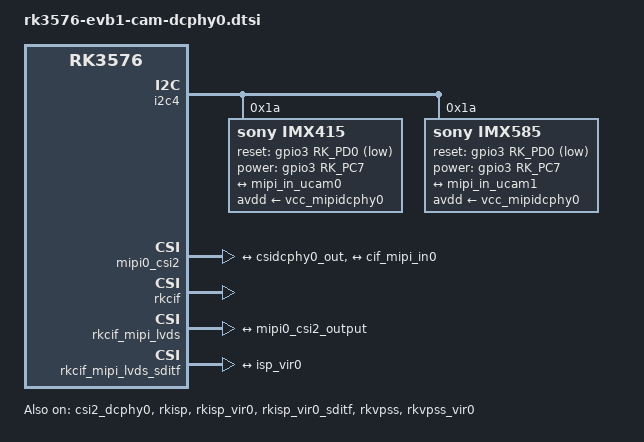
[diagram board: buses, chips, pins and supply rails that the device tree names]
// SPDX-License-Identifier: (GPL-2.0+ OR MIT)
/*
 * Copyright (c) 2024 Rockchip Electronics Co., Ltd.
 *
 */

&csi2_dcphy0 {
	status = "okay";

	ports {
		#address-cells = <1>;
		#size-cells = <0>;
		port@0 {
			reg = <0>;
			#address-cells = <1>;
			#size-cells = <0>;

			mipi_in_ucam0: endpoint@1 {
				reg = <1>;
				remote-endpoint = <&imx415_out0>;
				data-lanes = <1 2 3 4>;
			};

			mipi_in_ucam1: endpoint@2 {
				reg = <2>;
				remote-endpoint = <&imx585_out0>;
				data-lanes = <1 2 3 4>;
			};

		};
		port@1 {
			reg = <1>;
			#address-cells = <1>;
			#size-cells = <0>;

			csidcphy0_out: endpoint@0 {
				reg = <0>;
				remote-endpoint = <&mipi0_csi2_input>;
			};
		};
	};
};

&i2c4 {
	status = "okay";
	pinctrl-0 = <&i2c4m3_xfer>;

	imx415: imx415@1a {
		compatible = "sony,imx415";
		status = "okay";
		reg = <0x1a>;
		clocks = <&cru CLK_MIPI_CAMERAOUT_M0>;
		clock-names = "xvclk";
		pinctrl-names = "default";
		pinctrl-0 = <&cam_clk0m0_clk0>;
		power-domains = <&power RK3576_PD_VI>;
		avdd-supply = <&vcc_mipidcphy0>;
		reset-gpios = <&gpio3 RK_PD0 GPIO_ACTIVE_LOW>;
		power-gpios = <&gpio3 RK_PC7 GPIO_ACTIVE_HIGH>;
		rockchip,camera-module-index = <0>;
		rockchip,camera-module-facing = "back";
		rockchip,camera-module-name = "CMK-OT2022-PX1";
		rockchip,camera-module-lens-name = "IR0147-50IRC-8M-F20";
		port {
			imx415_out0: endpoint {
				remote-endpoint = <&mipi_in_ucam0>;
				data-lanes = <1 2 3 4>;
			};
		};
	};

	imx585: imx585@1a {
		compatible = "sony,imx585";
		status = "okay";
		reg = <0x1a>;
		clocks = <&cru CLK_MIPI_CAMERAOUT_M0>;
		clock-names = "xvclk";
		pinctrl-names = "default";
		pinctrl-0 = <&cam_clk0m0_clk0>;
		power-domains = <&power RK3576_PD_VI>;
		avdd-supply = <&vcc_mipidcphy0>;
		reset-gpios = <&gpio3 RK_PD0 GPIO_ACTIVE_LOW>;
		power-gpios = <&gpio3 RK_PC7 GPIO_ACTIVE_HIGH>;
		rockchip,camera-module-index = <0>;
		rockchip,camera-module-facing = "back";
		rockchip,camera-module-name = "CMK-IMX585-PX1";
		rockchip,camera-module-lens-name = "FH34SRJ-30SCK0";
		port {
			imx585_out0: endpoint {
				remote-endpoint = <&mipi_in_ucam1>;
				data-lanes = <1 2 3 4>;
			};
		};
	};

};

&mipi0_csi2 {
	status = "okay";

	ports {
		#address-cells = <1>;
		#size-cells = <0>;

		port@0 {
			reg = <0>;
			#address-cells = <1>;
			#size-cells = <0>;

			mipi0_csi2_input: endpoint@1 {
				reg = <1>;
				remote-endpoint = <&csidcphy0_out>;
			};
		};

		port@1 {
			reg = <1>;
			#address-cells = <1>;
			#size-cells = <0>;

			mipi0_csi2_output: endpoint@0 {
				reg = <0>;
				remote-endpoint = <&cif_mipi_in0>;
			};
		};
	};
};

&rkcif {
	status = "okay";
};

&rkcif_mipi_lvds {
	status = "okay";

	port {
		cif_mipi_in0: endpoint {
			remote-endpoint = <&mipi0_csi2_output>;
		};
	};
};

&rkcif_mipi_lvds_sditf {
	status = "okay";

	port {
		mipi_lvds_sditf: endpoint {
			remote-endpoint = <&isp_vir0>;
		};
	};
};

&rkcif_mmu {
	status = "okay";
};

&rkisp {
	status = "okay";
};

&rkisp_mmu {
	status = "okay";
};

&rkisp_vir0 {
	status = "okay";

	port {
		#address-cells = <1>;
		#size-cells = <0>;

		isp_vir0: endpoint@0 {
			reg = <0>;
			remote-endpoint = <&mipi_lvds_sditf>;
		};
	};
};

&rkisp_vir0_sditf {
	status = "okay";
};

&rkvpss {
	status = "okay";
};

&rkvpss_mmu {
	status = "okay";
};

&rkvpss_vir0 {
	status = "okay";
};
